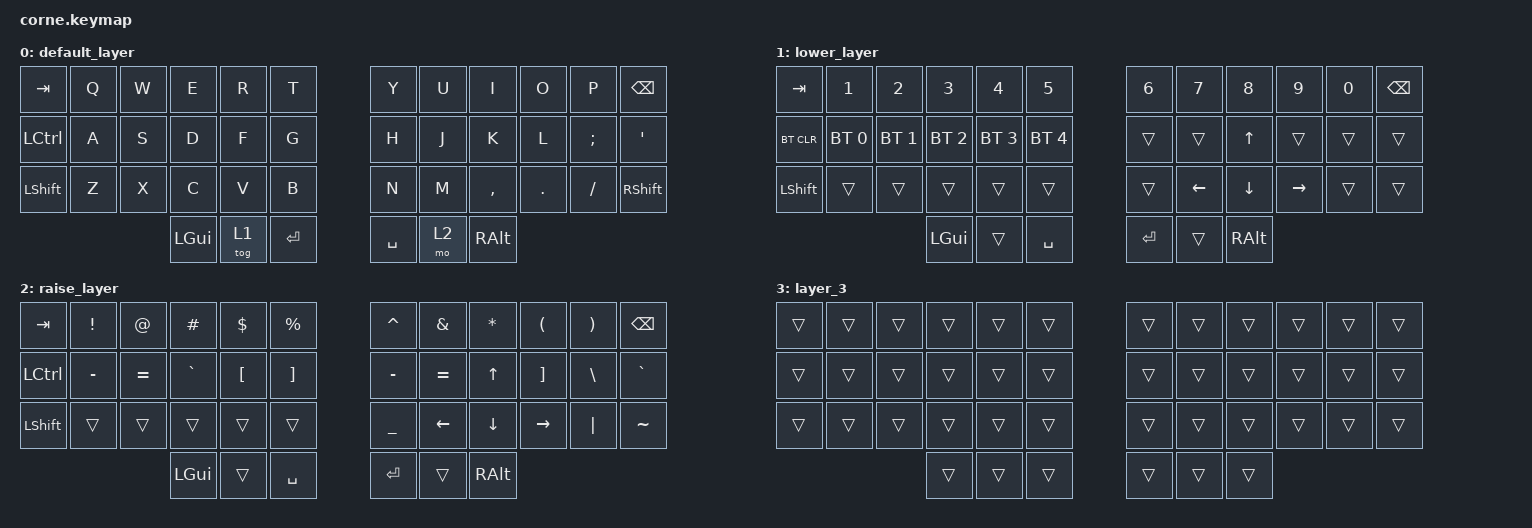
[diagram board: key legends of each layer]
/*
 * Copyright (c) 2020 The ZMK Contributors
 *
 * SPDX-License-Identifier: MIT
 */

#include <behaviors.dtsi>
#include <dt-bindings/zmk/bt.h>
#include <dt-bindings/zmk/keys.h>

/ {
    keymap {
        compatible = "zmk,keymap";

        default_layer {
            // -----------------------------------------------------------------------------------------
            // |  TAB |  Q  |  W  |  E  |  R  |  T  |   |  Y  |  U   |  I  |  O  |  P  | BSPC |
            // | CTRL |  A  |  S  |  D  |  F  |  G  |   |  H  |  J   |  K  |  L  |  ;  |  '   |
            // | SHFT |  Z  |  X  |  C  |  V  |  B  |   |  N  |  M   |  ,  |  .  |  /  | ESC  |
            //                    | GUI | LWR | SPC |   | ENT | RSE  | ALT |

            bindings = <
&kp TAB    &kp Q  &kp W  &kp E     &kp R   &kp T        &kp Y      &kp U  &kp I      &kp O    &kp P     &kp BSPC
&kp LCTRL  &kp A  &kp S  &kp D     &kp F   &kp G        &kp H      &kp J  &kp K      &kp L    &kp SEMI  &kp SQT
&kp LSHFT  &kp Z  &kp X  &kp C     &kp V   &kp B        &kp N      &kp M  &kp COMMA  &kp DOT  &kp FSLH  &kp RIGHT_SHIFT
                         &kp LGUI  &tog 1  &kp ENTER    &kp SPACE  &mo 2  &kp RALT
            >;
        };

        lower_layer {
            // -----------------------------------------------------------------------------------------
            // |  TAB |  1  |  2  |  3  |  4  |  5  |   |  6  |  7  |  8  |  9  |  0  | BSPC |
            // | BTCLR| BT1 | BT2 | BT3 | BT4 | BT5 |   | LFT | DWN |  UP | RGT |     |      |
            // | SHFT |     |     |     |     |     |   |     |     |     |     |     |      |
            //                    | GUI |     | SPC |   | ENT |     | ALT |

            bindings = <
&kp TAB     &kp N1        &kp N2        &kp N3        &kp N4        &kp N5          &kp N6   &kp N7    &kp N8    &kp N9     &kp N0  &kp BSPC
&bt BT_CLR  &bt BT_SEL 0  &bt BT_SEL 1  &bt BT_SEL 2  &bt BT_SEL 3  &bt BT_SEL 4    &trans   &trans    &kp UP    &trans     &trans  &trans
&kp LSHFT   &trans        &trans        &trans        &trans        &trans          &trans   &kp LEFT  &kp DOWN  &kp RIGHT  &trans  &trans
                                        &kp LGUI      &trans        &kp SPACE       &kp RET  &trans    &kp RALT
            >;
        };

        raise_layer {
            // -----------------------------------------------------------------------------------------
            // |  TAB |  !  |  @  |  #  |  $  |  %  |   |  ^  |  &  |  *  |  (  |  )  | BSPC |
            // | CTRL |     |     |     |     |     |   |  -  |  =  |  [  |  ]  |  \  |  `   |
            // | SHFT |     |     |     |     |     |   |  _  |  +  |  {  |  }  | "|" |  ~   |
            //                    | GUI |     | SPC |   | ENT |     | ALT |

            bindings = <
&kp TAB    &kp EXCLAMATION  &kp AT     &kp HASH   &kp DLLR          &kp PRCNT            &kp CARET  &kp AMPS   &kp ASTRK  &kp LPAR   &kp RPAR  &kp BSPC
&kp LCTRL  &kp MINUS        &kp EQUAL  &kp GRAVE  &kp LEFT_BRACKET  &kp RIGHT_BRACKET    &kp MINUS  &kp EQUAL  &kp UP     &kp RBKT   &kp BSLH  &kp GRAVE
&kp LSHFT  &trans           &trans     &trans     &trans            &trans               &kp UNDER  &kp LEFT   &kp DOWN   &kp RIGHT  &kp PIPE  &kp TILDE
                                       &kp LGUI   &trans            &kp SPACE            &kp RET    &trans     &kp RALT
            >;
        };

        layer_3 {
            bindings = <
&trans  &trans  &trans  &trans  &trans  &trans    &trans  &trans  &trans  &trans  &trans  &trans
&trans  &trans  &trans  &trans  &trans  &trans    &trans  &trans  &trans  &trans  &trans  &trans
&trans  &trans  &trans  &trans  &trans  &trans    &trans  &trans  &trans  &trans  &trans  &trans
                        &trans  &trans  &trans    &trans  &trans  &trans
            >;
        };
    };

    conditional_layers {
        compatible = "zmk,conditional-layers";

        tuto {
            if-layers = <1 2>;
            then-layer = <3>;
        };
    };
};
